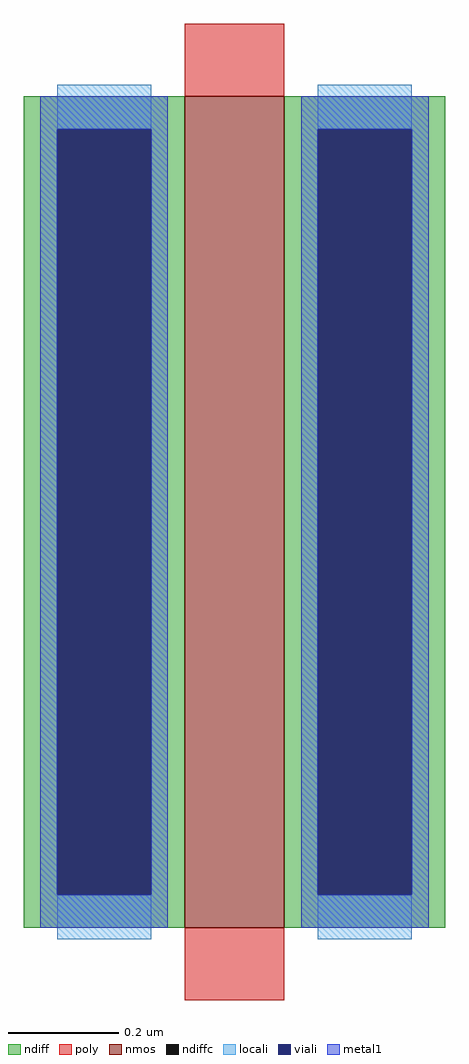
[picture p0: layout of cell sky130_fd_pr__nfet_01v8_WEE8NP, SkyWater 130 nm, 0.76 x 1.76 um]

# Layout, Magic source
magic
tech sky130A

<< nmos >>
rect -9 -75 9 75
<< ndiff >>
rect -38 69 -9 75
rect -38 -69 -32 69
rect -15 -69 -9 69
rect -38 -75 -9 -69
rect 9 69 38 75
rect 9 -69 15 69
rect 32 -69 38 69
rect 9 -75 38 -69
<< ndiffc >>
rect -32 -69 -15 69
rect 15 -69 32 69
<< poly >>
rect -9 75 9 88
rect -9 -88 9 -75
<< locali >>
rect -32 69 -15 77
rect -32 -77 -15 -69
rect 15 69 32 77
rect 15 -77 32 -69
<< viali >>
rect -32 -69 -15 69
rect 15 -69 32 69
<< metal1 >>
rect -35 69 -12 75
rect -35 -69 -32 69
rect -15 -69 -12 69
rect -35 -75 -12 -69
rect 12 69 35 75
rect 12 -69 15 69
rect 32 -69 35 69
rect 12 -75 35 -69
<< properties >>
string gencell sky130_fd_pr__nfet_01v8
string library sky130
string parameters w 1.5 l 0.18 m 1 nf 1 diffcov 100 polycov 100 guard 0 glc 0 grc 0 gtc 0 gbc 0 tbcov 100 rlcov 100 topc 0 botc 0 poverlap 0 doverlap 0 lmin 0.15 wmin 0.42 compatible {sky130_fd_pr__nfet_01v8 sky130_fd_pr__nfet_01v8_lvt  sky130_fd_bs_flash__special_sonosfet_star  sky130_fd_pr__nfet_g5v0d10v5 sky130_fd_pr__nfet_05v0_nvt  sky130_fd_pr__nfet_03v3_nvt} full_metal 0 viasrc 100 viadrn 100 viagate 100 viagb 0 viagr 0 viagl 0 viagt 0
<< end >>
